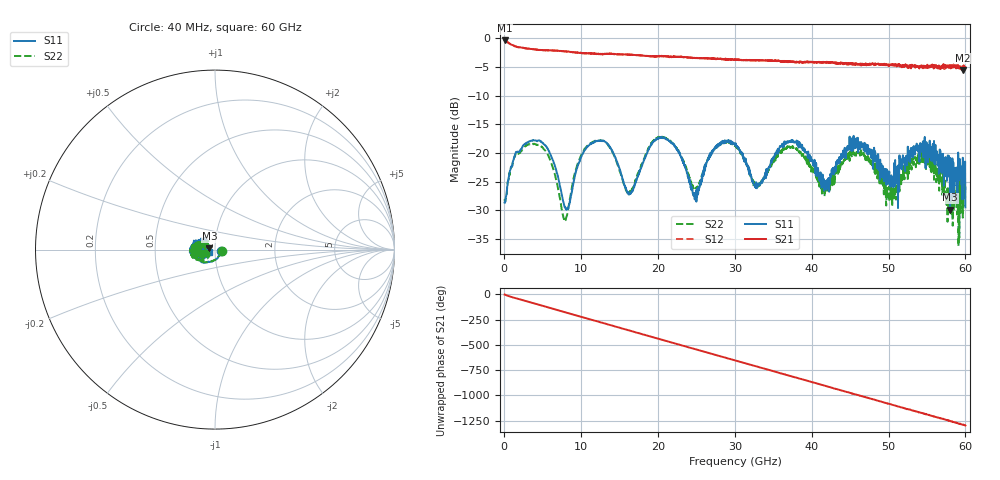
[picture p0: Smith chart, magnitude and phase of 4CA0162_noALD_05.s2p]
! File created by 'SoftPlot +Plus+ Measurement Management Software'
! SoftPlot +Plus+ Measurement Management Software
! Start 40.000000 MHz  Stop 60.000000 GHz  Points 1601
# MHZ S RI R 50
! S-Parameter data, F S11 S21 S12 S22
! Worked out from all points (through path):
!   1601 points, 40 MHz to 60 GHz, reference 50 ohm
!   highest |S21| = -0.36 dB at 40 MHz (marker M1); lowest = -5.5 dB at 59.66 GHz (marker M2)
!   group delay of S21, straight-line fit = 59.7 ps
!   lowest |S11| = -29.9 dB at 58.01 GHz (marker M3), VSWR 1.07, Z = 47 + j0.685 ohm
!   |S11| at or under -10 dB: start of sweep to end of sweep
!   |S22| runs from -36.2 to -17.1 dB; largest |S21 - S12| = 0.05
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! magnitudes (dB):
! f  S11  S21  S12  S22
! 40 MHz  -28.7  -0.4  -0.4  -28.1
! 1.464 GHz  -20.0  -1.4  -1.4  -20.2
! 4.462 GHz  -17.8  -2.0  -2.0  -18.6
! 7.91 GHz  -29.5  -2.3  -2.3  -31.7
! 10.05 GHz  -20.5  -2.6  -2.6  -20.2
! 13.16 GHz  -18.1  -2.7  -2.7  -18.1
! 16.27 GHz  -27.0  -2.8  -2.9  -26.8
! 20.05 GHz  -17.5  -3.1  -3.1  -17.3
! 22.49 GHz  -19.2  -3.2  -3.2  -19.5
! 24.77 GHz  -28.0  -3.4  -3.3  -26.3
! 27.36 GHz  -19.1  -3.6  -3.5  -19.4
! 30.02 GHz  -18.6  -3.6  -3.6  -18.8
! 32.72 GHz  -26.1  -3.8  -3.8  -25.6
! 36.77 GHz  -18.1  -4.1  -3.9  -19.1
! 40.03 GHz  -21.4  -4.1  -4.2  -22.7
! 42.05 GHz  -25.7  -4.1  -4.2  -25.4
! 46.13 GHz  -18.4  -4.5  -4.4  -19.8
! 50.03 GHz  -24.6  -4.8  -4.7  -26.2
! 54.49 GHz  -17.9  -5.1  -5.2  -21.8
! 58.01 GHz  -29.9  -4.6  -5.1  -28.5
! 59.66 GHz  -20.8  -5.5  -4.9  -31.3
! 60 GHz  -29.5  -5.1  -4.9  -25.2
